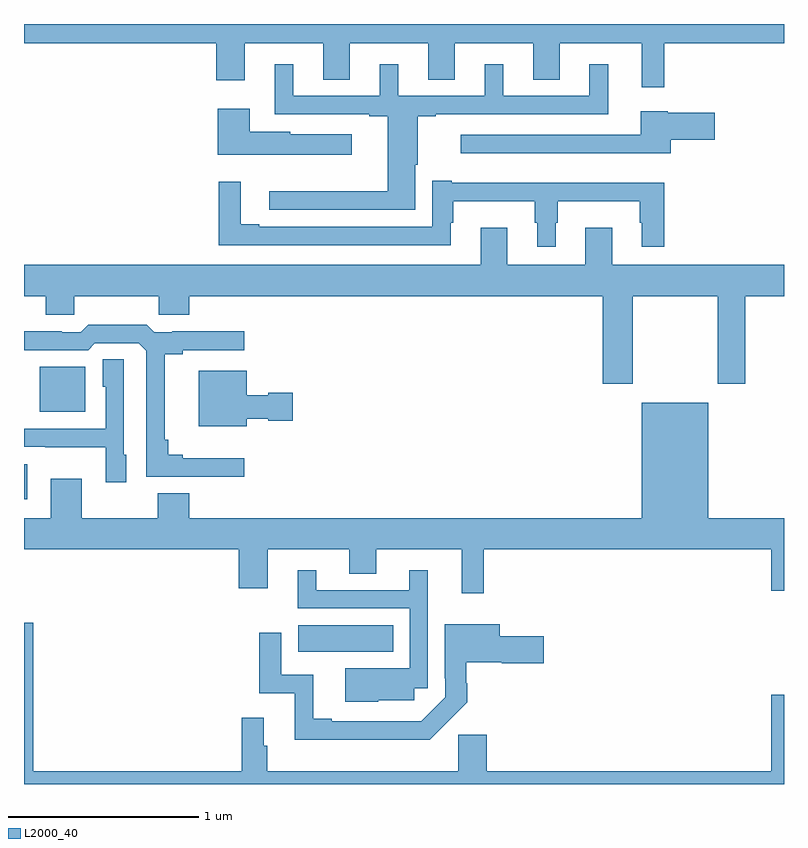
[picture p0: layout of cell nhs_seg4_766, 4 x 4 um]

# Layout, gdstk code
import gdstk
lib = gdstk.Library(unit=1e-6, precision=1e-09)
def R(c, l, rs):  # rectangles x0, y0, x1, y1
    for r in rs: c.add(gdstk.rectangle(r[:2], r[2:], *l))
def P(c, l, *ps):  # polygons
    for p in ps: c.add(gdstk.Polygon(p, *l))
L2000_40 = (2000, 40)

nhs_seg4_766 = lib.new_cell('nhs_seg4_766')
R(nhs_seg4_766, L2000_40, [(150.444,813.596,150.944,813.736), (149,814.398,149.017,814.584), (149.084,814.859,149.323,815.095)])
P(nhs_seg4_766, L2000_40, [(152.369,816.8),(153,816.8),(153,816.9),(149,816.9),(149,816.8),(150.011,816.8),(150.011,816.603),(150.163,816.603),(150.163,816.8),(150.575,816.8),(150.575,816.607),(150.715,816.607),(150.715,816.8),(151.127,816.8),(151.127,816.607),(151.267,816.607),(151.267,816.8),(151.679,816.8),(151.679,816.607),(151.819,816.607),(151.819,816.8),(152.252,816.8),(152.252,816.567),(152.369,816.567)],
  [(151.06,816.159),(151.072,816.159),(151.072,816.414),(151.168,816.414),(151.168,816.426),(152.075,816.426),(152.075,816.688),(151.976,816.688),(151.976,816.522),(151.522,816.522),(151.522,816.688),(151.424,816.688),(151.424,816.522),(150.97,816.522),(150.97,816.688),(150.872,816.688),(150.872,816.522),(150.418,816.522),(150.418,816.688),(150.32,816.688),(150.32,816.426),(150.818,816.426),(150.818,816.414),(150.914,816.414),(150.914,816.02),(150.291,816.02),(150.291,815.922),(151.06,815.922)],
  [(150.724,816.319),(150.402,816.319),(150.402,816.334),(150.187,816.334),(150.187,816.454),(150.02,816.454),(150.02,816.212),(150.724,816.212)],
  [(152.405,816.29),(152.635,816.29),(152.635,816.432),(152.388,816.432),(152.388,816.442),(152.246,816.442),(152.246,816.318),(151.299,816.318),(151.299,816.221),(152.405,816.221)],
  [(151.798,815.855),(151.81,815.855),(151.81,815.966),(152.241,815.966),(152.241,815.855),(152.252,815.855),(152.252,815.727),(152.369,815.727),(152.369,816.064),(151.252,816.064),(151.252,816.076),(151.149,816.076),(151.149,815.832),(150.238,815.832),(150.238,815.845),(150.142,815.845),(150.142,816.07),(150.025,816.07),(150.025,815.736),(151.246,815.736),(151.246,815.855),(151.258,815.855),(151.258,815.966),(151.689,815.966),(151.689,815.855),(151.7,815.855),(151.7,815.727),(151.798,815.727)],
  [(152.205,815.468),(152.65,815.468),(152.65,815.007),(152.797,815.007),(152.797,815.468),(153,815.468),(153,815.632),(152.095,815.632),(152.095,815.827),(151.955,815.827),(151.955,815.632),(151.543,815.632),(151.543,815.827),(151.403,815.827),(151.403,815.632),(149,815.632),(149,815.468),(149.114,815.468),(149.114,815.37),(149.265,815.37),(149.265,815.468),(149.71,815.468),(149.71,815.37),(149.87,815.37),(149.87,815.468),(152.045,815.468),(152.045,815.007),(152.205,815.007)],
  [(150.16,814.615),(149.836,814.615),(149.836,814.634),(149.759,814.634),(149.759,814.711),(149.741,814.711),(149.741,815.162),(149.836,815.162),(149.836,815.184),(150.16,815.184),(150.16,815.282),(149.779,815.282),(149.779,815.277),(149.685,815.277),(149.645,815.317),(149.338,815.317),(149.298,815.277),(149.198,815.277),(149.198,815.282),(149,815.282),(149,815.184),(149.337,815.184),(149.373,815.22),(149.604,815.22),(149.643,815.181),(149.643,814.518),(150.16,814.518)],
  [(149.539,814.632),(149.526,814.632),(149.526,815.135),(149.414,815.135),(149.414,814.992),(149.43,814.992),(149.43,814.77),(149,814.77),(149,814.674),(149.113,814.674),(149.113,814.673),(149.43,814.673),(149.43,814.488),(149.539,814.488)],
  [(150.172,814.823),(150.285,814.823),(150.285,814.811),(150.415,814.811),(150.415,814.958),(150.285,814.958),(150.285,814.945),(150.172,814.945),(150.172,815.074),(149.921,815.074),(149.921,814.784),(150.172,814.784)],
  [(151.421,814.136),(152.933,814.136),(152.933,813.918),(153,813.918),(153,814.3),(152.602,814.3),(152.602,814.906),(152.252,814.906),(152.252,814.3),(149.869,814.3),(149.869,814.429),(149.705,814.429),(149.705,814.3),(149.305,814.3),(149.305,814.507),(149.141,814.507),(149.141,814.3),(149,814.3),(149,814.136),(150.131,814.136),(150.131,813.93),(150.283,813.93),(150.283,814.136),(150.713,814.136),(150.713,814.006),(150.853,814.006),(150.853,814.136),(151.304,814.136),(151.304,813.903),(151.421,813.903)],
  [(150.864,813.342),(151.053,813.342),(151.053,813.405),(151.125,813.405),(151.125,814.024),(151.028,814.024),(151.028,813.921),(150.538,813.921),(150.538,814.024),(150.44,814.024),(150.44,813.825),(151.029,813.825),(151.029,813.508),(150.692,813.508),(150.692,813.332),(150.864,813.332)],
  [(153,813.37),(152.933,813.37),(152.933,812.968),(151.436,812.968),(151.436,813.159),(151.285,813.159),(151.285,812.968),(150.281,812.968),(150.281,813.101),(150.262,813.101),(150.262,813.25),(150.145,813.25),(150.145,812.968),(149.048,812.968),(149.048,813.748),(149,813.748),(149,812.9),(153,812.9)],
  [(151.334,813.329),(151.334,813.431),(151.327,813.431),(151.327,813.541),(151.515,813.541),(151.515,813.536),(151.735,813.536),(151.735,813.678),(151.504,813.678),(151.504,813.742),(151.215,813.742),(151.215,813.457),(151.218,813.457),(151.218,813.357),(151.09,813.229),(150.989,813.229),(150.989,813.231),(150.619,813.231),(150.619,813.244),(150.523,813.244),(150.523,813.474),(150.354,813.474),(150.354,813.697),(150.238,813.697),(150.238,813.378),(150.425,813.378),(150.425,813.134),(150.937,813.134),(150.937,813.132),(151.136,813.132)])

lib.write_gds('nhs_seg4_766.gds')
